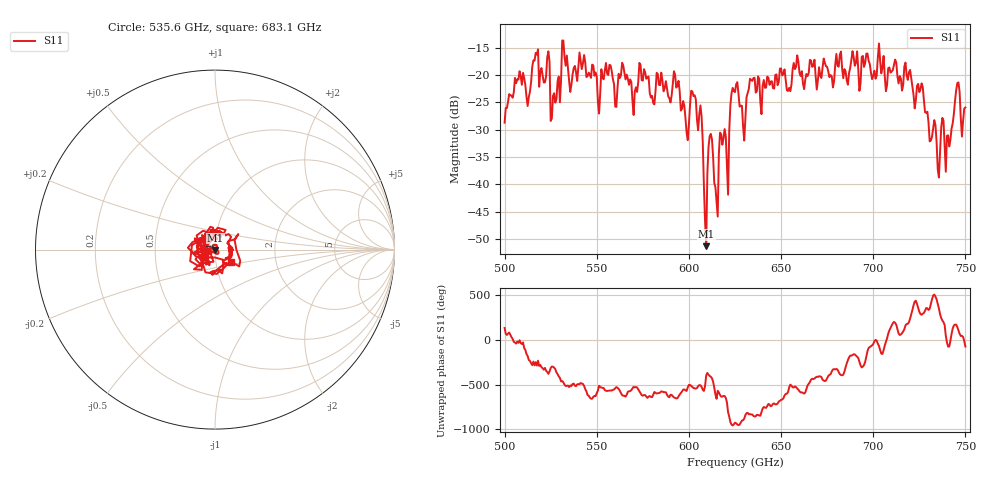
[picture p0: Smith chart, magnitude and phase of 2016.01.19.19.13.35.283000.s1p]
!Created with skrf (http://scikit-rf.org).
# GHz S RI R 50.0
!freq ReS11 ImS11
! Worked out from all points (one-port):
!   401 points, 500 GHz to 750 GHz, reference 50 ohm
!   lowest |S11| = -51.3 dB at 609.4 GHz (marker M1), VSWR 1.01, Z = 50.2 - j0.17 ohm
!   |S11| at or under -10 dB: start of sweep to end of sweep
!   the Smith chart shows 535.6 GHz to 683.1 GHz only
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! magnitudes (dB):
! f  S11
! 500 GHz  -28.7
! 506.9 GHz  -20.8
! 513.1 GHz  -24.0
! 516.9 GHz  -16.0
! 523.1 GHz  -16.8
! 526.2 GHz  -23.8
! 531.2 GHz  -13.7
! 550.6 GHz  -24.9
! 562.5 GHz  -20.6
! 593.8 GHz  -22.0
! 598.8 GHz  -30.6
! 602.5 GHz  -23.9
! 606.2 GHz  -25.6
! 609.4 GHz  -51.3
! 611.2 GHz  -31.2
! 615 GHz  -43.2
! 617.5 GHz  -30.8
! 620.6 GHz  -36.5
! 625 GHz  -23.1
! 629.4 GHz  -29.3
! 634.4 GHz  -21.1
! 656.2 GHz  -19.0
! 687.5 GHz  -18.7
! 718.8 GHz  -20.9
! 735 GHz  -37.2
! 740.6 GHz  -31.0
! 745.6 GHz  -21.5
! 750 GHz  -25.9
